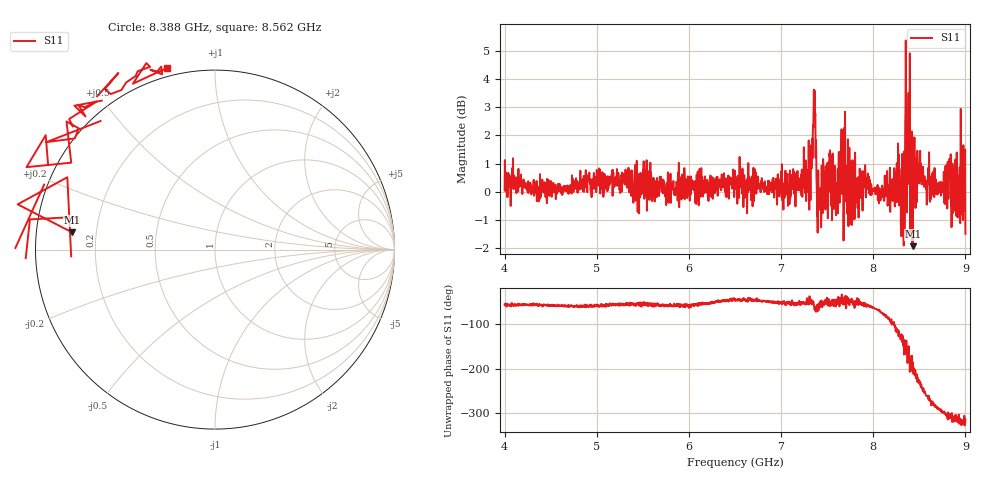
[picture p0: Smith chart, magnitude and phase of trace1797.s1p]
! Created with skrf 1.8.0 (http://scikit-rf.org).
# Hz S RI R 50.0
!freq ReS11 ImS11
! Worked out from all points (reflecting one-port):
!   1601 points, 4 GHz to 9 GHz, reference 50 ohm
!   lowest |S11| = -1.9 dB at 8.431 GHz (marker M1), VSWR 9.05, Z = 5.54 + j2.96 ohm
!   phase of S11 starts at -57 deg and turns -257 deg over the sweep
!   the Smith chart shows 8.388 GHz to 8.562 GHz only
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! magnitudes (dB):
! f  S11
! 4 GHz  0.1
! 4.625 GHz  -0.1
! 5.25 GHz  0.1
! 5.875 GHz  0.3
! 6.5 GHz  0.7
! 7.125 GHz  0.3
! 7.297 GHz  0.4
! 7.356 GHz  3.6
! 7.412 GHz  -0.1
! 7.538 GHz  1.3
! 7.609 GHz  0.3
! 7.65 GHz  1.4
! 7.75 GHz  -1.1
! 7.891 GHz  0.2
! 8.097 GHz  0.2
! 8.262 GHz  -0.4
! 8.316 GHz  1.3
! 8.334 GHz  1.4
! 8.356 GHz  3.8
! 8.372 GHz  0.9
! 8.375 GHz  0.3
! 8.388 GHz  1.3
! 8.431 GHz  -1.9
! 8.756 GHz  0.1
! 8.816 GHz  -0.2
! 8.875 GHz  0.5
! 8.972 GHz  0.6
! 9 GHz  -1.5
